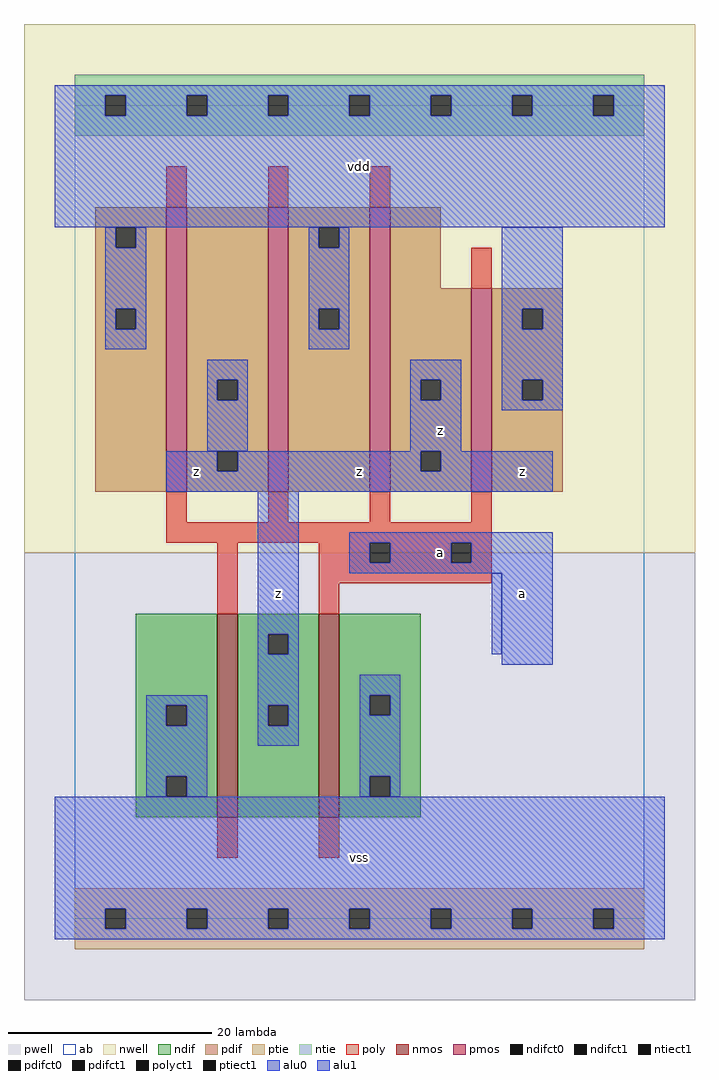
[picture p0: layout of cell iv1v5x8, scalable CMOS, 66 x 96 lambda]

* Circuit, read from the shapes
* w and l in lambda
.subckt iv1v5x8 a vdd vss z
M1 z a vss vss nfet w=20 l=2 m=2
M2 z a vdd vdd pfet w=28 l=2 m=3
M3 vdd a z vdd pfet w=20 l=2
.ends

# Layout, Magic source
magic
tech scmos
<< ab >>
rect 0 0 56 80
<< nwell >>
rect -5 36 61 88
<< pwell >>
rect -5 -8 61 36
<< poly >>
rect 9 70 11 74
rect 19 70 21 74
rect 29 70 31 74
rect 39 62 41 66
rect 9 39 11 42
rect 19 39 21 42
rect 29 39 31 42
rect 39 39 41 42
rect 9 37 41 39
rect 14 30 16 37
rect 24 35 29 37
rect 31 35 37 37
rect 39 35 41 37
rect 24 33 41 35
rect 24 30 26 33
rect 14 6 16 10
rect 24 6 26 10
<< ndif >>
rect 6 21 14 30
rect 6 19 9 21
rect 11 19 14 21
rect 6 14 14 19
rect 6 12 9 14
rect 11 12 14 14
rect 6 10 14 12
rect 16 28 24 30
rect 16 26 19 28
rect 21 26 24 28
rect 16 21 24 26
rect 16 19 19 21
rect 21 19 24 21
rect 16 10 24 19
rect 26 22 34 30
rect 26 20 29 22
rect 31 20 34 22
rect 26 14 34 20
rect 26 12 29 14
rect 31 12 34 14
rect 26 10 34 12
<< pdif >>
rect 2 68 9 70
rect 2 66 4 68
rect 6 66 9 68
rect 2 60 9 66
rect 2 58 4 60
rect 6 58 9 60
rect 2 42 9 58
rect 11 53 19 70
rect 11 51 14 53
rect 16 51 19 53
rect 11 46 19 51
rect 11 44 14 46
rect 16 44 19 46
rect 11 42 19 44
rect 21 68 29 70
rect 21 66 24 68
rect 26 66 29 68
rect 21 60 29 66
rect 21 58 24 60
rect 26 58 29 60
rect 21 42 29 58
rect 31 62 36 70
rect 31 53 39 62
rect 31 51 34 53
rect 36 51 39 53
rect 31 46 39 51
rect 31 44 34 46
rect 36 44 39 46
rect 31 42 39 44
rect 41 60 48 62
rect 41 58 44 60
rect 46 58 48 60
rect 41 53 48 58
rect 41 51 44 53
rect 46 51 48 53
rect 41 42 48 51
<< alu1 >>
rect -2 81 58 82
rect -2 79 3 81
rect 5 79 11 81
rect 13 79 19 81
rect 21 79 27 81
rect 29 79 35 81
rect 37 79 43 81
rect 45 79 51 81
rect 53 79 58 81
rect -2 68 58 79
rect 33 53 38 55
rect 33 51 34 53
rect 36 51 38 53
rect 33 46 38 51
rect 9 44 14 46
rect 16 44 34 46
rect 36 44 47 46
rect 9 42 47 44
rect 18 28 22 42
rect 27 37 47 38
rect 27 35 29 37
rect 31 35 37 37
rect 39 35 47 37
rect 27 34 47 35
rect 18 26 19 28
rect 21 26 22 28
rect 18 21 22 26
rect 42 25 47 34
rect 18 19 19 21
rect 21 19 22 21
rect 18 17 22 19
rect -2 1 58 12
rect -2 -1 3 1
rect 5 -1 11 1
rect 13 -1 19 1
rect 21 -1 27 1
rect 29 -1 35 1
rect 37 -1 43 1
rect 45 -1 51 1
rect 53 -1 58 1
rect -2 -2 58 -1
<< ptie >>
rect 0 1 56 3
rect 0 -1 3 1
rect 5 -1 11 1
rect 13 -1 19 1
rect 21 -1 27 1
rect 29 -1 35 1
rect 37 -1 43 1
rect 45 -1 51 1
rect 53 -1 56 1
rect 0 -3 56 -1
<< ntie >>
rect 0 81 56 83
rect 0 79 3 81
rect 5 79 11 81
rect 13 79 19 81
rect 21 79 27 81
rect 29 79 35 81
rect 37 79 43 81
rect 45 79 51 81
rect 53 79 56 81
rect 0 77 56 79
<< nmos >>
rect 14 10 16 30
rect 24 10 26 30
<< pmos >>
rect 9 42 11 70
rect 19 42 21 70
rect 29 42 31 70
rect 39 42 41 62
<< polyct1 >>
rect 29 35 31 37
rect 37 35 39 37
<< ndifct0 >>
rect 9 19 11 21
rect 9 12 11 14
rect 29 20 31 22
rect 29 12 31 14
<< ndifct1 >>
rect 19 26 21 28
rect 19 19 21 21
<< ntiect1 >>
rect 3 79 5 81
rect 11 79 13 81
rect 19 79 21 81
rect 27 79 29 81
rect 35 79 37 81
rect 43 79 45 81
rect 51 79 53 81
<< ptiect1 >>
rect 3 -1 5 1
rect 11 -1 13 1
rect 19 -1 21 1
rect 27 -1 29 1
rect 35 -1 37 1
rect 43 -1 45 1
rect 51 -1 53 1
<< pdifct0 >>
rect 4 66 6 68
rect 4 58 6 60
rect 14 51 16 53
rect 24 66 26 68
rect 24 58 26 60
rect 44 58 46 60
rect 44 51 46 53
<< pdifct1 >>
rect 14 44 16 46
rect 34 51 36 53
rect 34 44 36 46
<< alu0 >>
rect 3 66 4 68
rect 6 66 7 68
rect 3 60 7 66
rect 3 58 4 60
rect 6 58 7 60
rect 3 56 7 58
rect 23 66 24 68
rect 26 66 27 68
rect 23 60 27 66
rect 23 58 24 60
rect 26 58 27 60
rect 23 56 27 58
rect 42 60 48 68
rect 42 58 44 60
rect 46 58 48 60
rect 13 53 17 55
rect 13 51 14 53
rect 16 51 17 53
rect 13 46 17 51
rect 42 53 48 58
rect 42 51 44 53
rect 46 51 48 53
rect 42 50 48 51
rect 41 26 42 34
rect 7 21 13 22
rect 7 19 9 21
rect 11 19 13 21
rect 7 14 13 19
rect 28 22 32 24
rect 28 20 29 22
rect 31 20 32 22
rect 7 12 9 14
rect 11 12 13 14
rect 28 14 32 20
rect 28 12 29 14
rect 31 12 32 14
<< labels >>
rlabel alu1 20 32 20 32 6 z
rlabel alu1 12 44 12 44 6 z
rlabel alu1 28 6 28 6 6 vss
rlabel alu1 36 36 36 36 6 a
rlabel alu1 28 44 28 44 6 z
rlabel alu1 36 48 36 48 6 z
rlabel alu1 28 74 28 74 6 vdd
rlabel alu1 44 32 44 32 6 a
rlabel alu1 44 44 44 44 6 z
<< end >>
